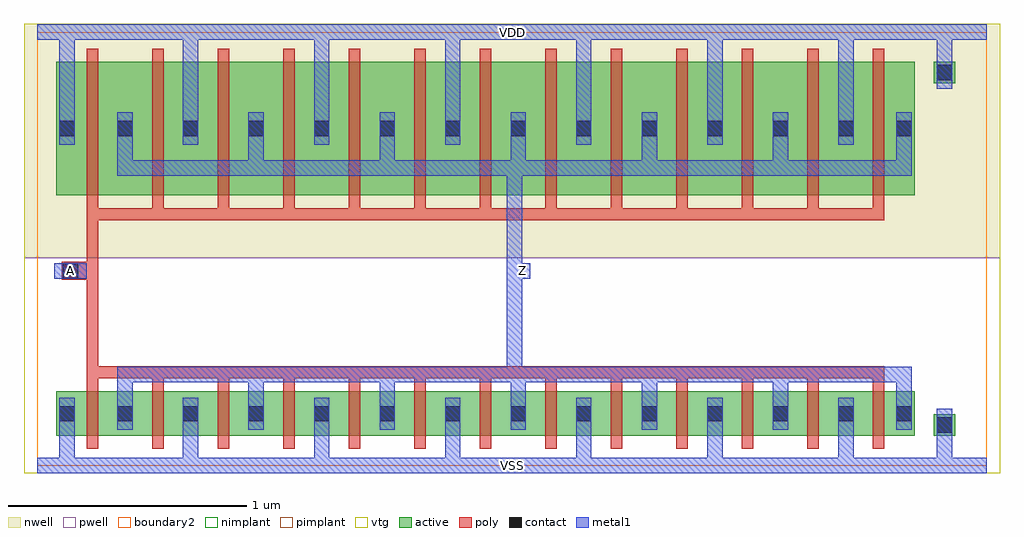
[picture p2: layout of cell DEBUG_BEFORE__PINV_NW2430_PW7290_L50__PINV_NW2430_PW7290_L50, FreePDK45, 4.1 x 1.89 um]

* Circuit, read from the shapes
.subckt DEBUG_BEFORE__PINV_NW2430_PW7290_L50__PINV_NW2430_PW7290_L50 A VDD VSS Z
M1 Z A VSS VSS nfet w=0.1875u l=0.05u m=13
M2 Z A VDD VDD pfet w=0.56u l=0.05u m=13
.ends

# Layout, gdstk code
import gdstk
lib = gdstk.Library(unit=1e-6, precision=5e-10)
def R(c, l, rs):  # rectangles x0, y0, x1, y1
    for r in rs: c.add(gdstk.rectangle(r[:2], r[2:], *l))
def A(c, l, x, y, w, h, nx, ny, dx, dy):  # array of equal rectangles
    R(c, l, [(x+i*dx, y+j*dy, x+i*dx+w, y+j*dy+h) for i in range(nx) for j in range(ny)])
active = (1, 0)
pwell = (2, 0)
nwell = (3, 0)
nimplant = (4, 0)
pimplant = (5, 0)
vtg = (6, 0)
poly = (9, 0)
contact = (10, 0)
metal1 = (11, 0)
boundary2 = (239, 0)

debug_before__pinv_nw243 = lib.new_cell('DEBUG_BEFORE__PINV_NW2430_PW7290_L50__TRANSMISSION_GATE_NW250_PW500_L50_contact_8')
R(debug_before__pinv_nw243, active, [(0,0.0225,0.09,0.1125)])
R(debug_before__pinv_nw243, nwell, [(-0.055,-0.0325,0.145,0.1675)])
R(debug_before__pinv_nw243, pimplant, [(0,0.0225,0.09,0.1125)])
R(debug_before__pinv_nw243, contact, [(0.0125,0.035,0.0775,0.1)])
R(debug_before__pinv_nw243, metal1, [(0.0125,0,0.0775,0.135)])
R(debug_before__pinv_nw243, boundary2, [(-0.055,-0.0325,0.145,0.1675)])

c_debug_before__pinv_nw243 = lib.new_cell('DEBUG_BEFORE__PINV_NW2430_PW7290_L50__PINV_NW2430_PW7290_L50_pmos_m13_w0_560_sm1_dm1_da_p')
R(c_debug_before__pinv_nw243, active, [(0,0,3.605,0.56)])
R(c_debug_before__pinv_nw243, nwell, [(-0.08,-0.08,3.685,0.64)])
R(c_debug_before__pinv_nw243, pimplant, [(0,0,3.605,0.56)])
R(c_debug_before__pinv_nw243, vtg, [(-0.08,-0.08,3.685,0.64)])
A(c_debug_before__pinv_nw243, poly, 0.1275, -0.055, 0.05, 0.67, 13, 1, 0.275, 0)
R(c_debug_before__pinv_nw243, poly, [(0.1275,-0.105,3.4775,-0.055)])
A(c_debug_before__pinv_nw243, metal1, 0.2575, 0.115, 0.065, 0.165, 6, 1, 0.55, 0)
A(c_debug_before__pinv_nw243, metal1, 0.5325, 0.2125, 0.065, 0.135, 6, 1, 0.55, 0)
R(c_debug_before__pinv_nw243, metal1, [(0.2575,0.0825,3.5925,0.1475), (3.5275,0.115,3.5925,0.28), (0.0125,0.2125,0.0775,0.3475)])
R(c_debug_before__pinv_nw243, boundary2, [(-0.08,-0.105,3.685,0.64)])
c_debug_before__pinv_nw243.add(gdstk.Reference(debug_before__pinv_nw243, (0,0.2125)))
c_debug_before__pinv_nw243.add(gdstk.Reference(debug_before__pinv_nw243, (0.245,0.2125)))
c_debug_before__pinv_nw243.add(gdstk.Reference(debug_before__pinv_nw243, (0.52,0.2125)))
c_debug_before__pinv_nw243.add(gdstk.Reference(debug_before__pinv_nw243, (0.795,0.2125)))
c_debug_before__pinv_nw243.add(gdstk.Reference(debug_before__pinv_nw243, (1.07,0.2125)))
c_debug_before__pinv_nw243.add(gdstk.Reference(debug_before__pinv_nw243, (1.345,0.2125)))
c_debug_before__pinv_nw243.add(gdstk.Reference(debug_before__pinv_nw243, (1.62,0.2125)))
c_debug_before__pinv_nw243.add(gdstk.Reference(debug_before__pinv_nw243, (1.895,0.2125)))
c_debug_before__pinv_nw243.add(gdstk.Reference(debug_before__pinv_nw243, (2.17,0.2125)))
c_debug_before__pinv_nw243.add(gdstk.Reference(debug_before__pinv_nw243, (2.445,0.2125)))
c_debug_before__pinv_nw243.add(gdstk.Reference(debug_before__pinv_nw243, (2.72,0.2125)))
c_debug_before__pinv_nw243.add(gdstk.Reference(debug_before__pinv_nw243, (2.995,0.2125)))
c_debug_before__pinv_nw243.add(gdstk.Reference(debug_before__pinv_nw243, (3.27,0.2125)))
c_debug_before__pinv_nw243.add(gdstk.Reference(debug_before__pinv_nw243, (3.515,0.2125)))
c_debug_before__pinv_nw243.add(gdstk.Label('G', (1.8025,-0.08), layer=9, texttype=0))
c_debug_before__pinv_nw243.add(gdstk.Label('S', (2.765,0.28), layer=11, texttype=0))
c_debug_before__pinv_nw243.add(gdstk.Label('S', (1.665,0.28), layer=11, texttype=0))
c_debug_before__pinv_nw243.add(gdstk.Label('S', (2.215,0.28), layer=11, texttype=0))
c_debug_before__pinv_nw243.add(gdstk.Label('S', (3.315,0.28), layer=11, texttype=0))
c_debug_before__pinv_nw243.add(gdstk.Label('S', (0.565,0.28), layer=11, texttype=0))
c_debug_before__pinv_nw243.add(gdstk.Label('S', (0.045,0.28), layer=11, texttype=0))
c_debug_before__pinv_nw243.add(gdstk.Label('S', (1.115,0.28), layer=11, texttype=0))
c_debug_before__pinv_nw243.add(gdstk.Label('D', (1.925,0.115), layer=11, texttype=0))

c_debug_before__pinv_nw243_ = lib.new_cell('DEBUG_BEFORE__PINV_NW2430_PW7290_L50__TRANSMISSION_GATE_NW250_PW500_L50_contact_7')
R(c_debug_before__pinv_nw243_, active, [(0,0.0225,0.09,0.1125)])
R(c_debug_before__pinv_nw243_, pwell, [(-0.055,-0.0325,0.145,0.1675)])
R(c_debug_before__pinv_nw243_, nimplant, [(0,0.0225,0.09,0.1125)])
R(c_debug_before__pinv_nw243_, contact, [(0.0125,0.035,0.0775,0.1)])
R(c_debug_before__pinv_nw243_, metal1, [(0.0125,0,0.0775,0.135)])
R(c_debug_before__pinv_nw243_, boundary2, [(-0.055,-0.0325,0.145,0.1675)])

c_debug_before__pinv_nw243__ = lib.new_cell('DEBUG_BEFORE__PINV_NW2430_PW7290_L50__PINV_NW2430_PW7290_L50_nmos_m13_w0_188_sm1_dm1_da_p')
R(c_debug_before__pinv_nw243__, active, [(0,0,3.605,0.1875)])
R(c_debug_before__pinv_nw243__, pwell, [(-0.08,-0.08,3.685,0.2675)])
R(c_debug_before__pinv_nw243__, nimplant, [(0,0,3.605,0.1875)])
R(c_debug_before__pinv_nw243__, vtg, [(-0.08,-0.08,3.685,0.2675)])
A(c_debug_before__pinv_nw243__, poly, 0.1275, -0.055, 0.05, 0.2975, 13, 1, 0.275, 0)
R(c_debug_before__pinv_nw243__, poly, [(0.1275,0.2425,3.4775,0.2925)])
A(c_debug_before__pinv_nw243__, metal1, 0.5325, 0.025, 0.065, 0.135, 6, 1, 0.55, 0)
A(c_debug_before__pinv_nw243__, metal1, 0.2575, 0.095, 0.065, 0.165, 6, 1, 0.55, 0)
R(c_debug_before__pinv_nw243__, metal1, [(0.0125,0.025,0.0775,0.16), (3.5275,0.095,3.5925,0.26), (0.2575,0.225,3.5925,0.29)])
R(c_debug_before__pinv_nw243__, boundary2, [(-0.08,-0.08,3.685,0.2925)])
c_debug_before__pinv_nw243__.add(gdstk.Reference(c_debug_before__pinv_nw243_, (0,0.025)))
c_debug_before__pinv_nw243__.add(gdstk.Reference(c_debug_before__pinv_nw243_, (0.245,0.025)))
c_debug_before__pinv_nw243__.add(gdstk.Reference(c_debug_before__pinv_nw243_, (0.52,0.025)))
c_debug_before__pinv_nw243__.add(gdstk.Reference(c_debug_before__pinv_nw243_, (0.795,0.025)))
c_debug_before__pinv_nw243__.add(gdstk.Reference(c_debug_before__pinv_nw243_, (1.07,0.025)))
c_debug_before__pinv_nw243__.add(gdstk.Reference(c_debug_before__pinv_nw243_, (1.345,0.025)))
c_debug_before__pinv_nw243__.add(gdstk.Reference(c_debug_before__pinv_nw243_, (1.62,0.025)))
c_debug_before__pinv_nw243__.add(gdstk.Reference(c_debug_before__pinv_nw243_, (1.895,0.025)))
c_debug_before__pinv_nw243__.add(gdstk.Reference(c_debug_before__pinv_nw243_, (2.17,0.025)))
c_debug_before__pinv_nw243__.add(gdstk.Reference(c_debug_before__pinv_nw243_, (2.445,0.025)))
c_debug_before__pinv_nw243__.add(gdstk.Reference(c_debug_before__pinv_nw243_, (2.72,0.025)))
c_debug_before__pinv_nw243__.add(gdstk.Reference(c_debug_before__pinv_nw243_, (2.995,0.025)))
c_debug_before__pinv_nw243__.add(gdstk.Reference(c_debug_before__pinv_nw243_, (3.27,0.025)))
c_debug_before__pinv_nw243__.add(gdstk.Reference(c_debug_before__pinv_nw243_, (3.515,0.025)))
c_debug_before__pinv_nw243__.add(gdstk.Label('G', (1.8025,0.2675), layer=9, texttype=0))
c_debug_before__pinv_nw243__.add(gdstk.Label('S', (2.765,0.0925), layer=11, texttype=0))
c_debug_before__pinv_nw243__.add(gdstk.Label('S', (3.315,0.0925), layer=11, texttype=0))
c_debug_before__pinv_nw243__.add(gdstk.Label('S', (1.665,0.0925), layer=11, texttype=0))
c_debug_before__pinv_nw243__.add(gdstk.Label('S', (0.045,0.0925), layer=11, texttype=0))
c_debug_before__pinv_nw243__.add(gdstk.Label('S', (0.565,0.0925), layer=11, texttype=0))
c_debug_before__pinv_nw243__.add(gdstk.Label('S', (1.115,0.0925), layer=11, texttype=0))
c_debug_before__pinv_nw243__.add(gdstk.Label('S', (2.215,0.0925), layer=11, texttype=0))
c_debug_before__pinv_nw243__.add(gdstk.Label('D', (1.925,0.2575), layer=11, texttype=0))

c_debug_before__pinv_nw243___ = lib.new_cell('DEBUG_BEFORE__PINV_NW2430_PW7290_L50__TRANSMISSION_GATE_NW250_PW500_L50_contact_9')
R(c_debug_before__pinv_nw243___, active, [(0,0.0225,0.09,0.1125)])
R(c_debug_before__pinv_nw243___, nwell, [(-0.055,-0.0325,0.145,0.1675)])
R(c_debug_before__pinv_nw243___, nimplant, [(0,0.0225,0.09,0.1125)])
R(c_debug_before__pinv_nw243___, contact, [(0.0125,0.035,0.0775,0.1)])
R(c_debug_before__pinv_nw243___, metal1, [(0.0125,0,0.0775,0.135)])
R(c_debug_before__pinv_nw243___, boundary2, [(-0.055,-0.0325,0.145,0.1675)])

c_debug_before__pinv_nw243____ = lib.new_cell('DEBUG_BEFORE__PINV_NW2430_PW7290_L50__TRANSMISSION_GATE_NW250_PW500_L50_contact_10')
R(c_debug_before__pinv_nw243____, active, [(0,0.0225,0.09,0.1125)])
R(c_debug_before__pinv_nw243____, pwell, [(-0.055,-0.0325,0.145,0.1675)])
R(c_debug_before__pinv_nw243____, pimplant, [(0,0.0225,0.09,0.1125)])
R(c_debug_before__pinv_nw243____, contact, [(0.0125,0.035,0.0775,0.1)])
R(c_debug_before__pinv_nw243____, metal1, [(0.0125,0,0.0775,0.135)])
R(c_debug_before__pinv_nw243____, boundary2, [(-0.055,-0.0325,0.145,0.1675)])

c_debug_before__pinv_nw243_____ = lib.new_cell('DEBUG_BEFORE__PINV_NW2430_PW7290_L50__PINV_NW180_PW270_L50_contact_11')
R(c_debug_before__pinv_nw243_____, poly, [(0.03,0,0.105,0.075)])
R(c_debug_before__pinv_nw243_____, contact, [(0.035,0.005,0.1,0.07)])
R(c_debug_before__pinv_nw243_____, metal1, [(0,0.005,0.135,0.07)])
R(c_debug_before__pinv_nw243_____, boundary2, [(0,0,0.135,0.075)])

c_debug_before__pinv_nw243______ = lib.new_cell('DEBUG_BEFORE__PINV_NW2430_PW7290_L50__PINV_NW2430_PW7290_L50_core')
R(c_debug_before__pinv_nw243______, pwell, [(-0.055,-0.0325,4.0425,0.8725)])
R(c_debug_before__pinv_nw243______, nwell, [(-0.055,0.8725,4.0425,1.855)])
R(c_debug_before__pinv_nw243______, vtg, [(-0.055,-0.0325,4.0425,0.8725), (-0.055,0.8725,4.0425,1.855)])
R(c_debug_before__pinv_nw243______, poly, [(0.2075,0.4175,0.2575,1.03), (0.14,0.78,0.2075,0.855)])
A(c_debug_before__pinv_nw243______, metal1, 0.6125, -0.0325, 0.065, 0.1825, 6, 1, 0.55, 0)
A(c_debug_before__pinv_nw243______, metal1, 0.6125, 1.3475, 0.065, 0.505, 6, 1, 0.55, 0)
R(c_debug_before__pinv_nw243______, metal1, [(0,-0.0325,3.9875,0.0325), (0.0925,-0.0325,0.1575,0.15), (3.7775,0,3.8425,0.17), (1.9725,0.35,2.0375,1.2825), (0.0725,0.785,0.2075,0.85), (2.005,0.785,2.07,0.85), (0.0925,1.3475,0.1575,1.8525), (3.7775,1.65,3.8425,1.82), (0,1.7875,3.9875,1.8525)])
R(c_debug_before__pinv_nw243______, boundary2, [(0,0,3.9875,1.82), (0,0,3.9875,1.82)])
c_debug_before__pinv_nw243______.add(gdstk.Reference(c_debug_before__pinv_nw243, (0.08,1.135)))
c_debug_before__pinv_nw243______.add(gdstk.Reference(c_debug_before__pinv_nw243__, (0.08,0.125)))
c_debug_before__pinv_nw243______.add(gdstk.Reference(c_debug_before__pinv_nw243___, (3.765,1.5825)))
c_debug_before__pinv_nw243______.add(gdstk.Reference(c_debug_before__pinv_nw243____, (3.765,0.1025)))
c_debug_before__pinv_nw243______.add(gdstk.Reference(c_debug_before__pinv_nw243_____, (0.0725,0.78)))
c_debug_before__pinv_nw243______.add(gdstk.Label('A', (0.14,0.8175), layer=11, texttype=0))
c_debug_before__pinv_nw243______.add(gdstk.Label('Z', (2.0375,0.8175), layer=11, texttype=0))
c_debug_before__pinv_nw243______.add(gdstk.Label('gnd', (1.994,0), layer=11, texttype=0))
c_debug_before__pinv_nw243______.add(gdstk.Label('vdd', (1.994,1.82), layer=11, texttype=0))

c_debug_before__pinv_nw243_______ = lib.new_cell('DEBUG_BEFORE__PINV_NW2430_PW7290_L50__PINV_NW2430_PW7290_L50')
R(c_debug_before__pinv_nw243_______, metal1, [(0,-0.0325,3.9875,0.0325), (0.0725,0.785,0.2075,0.85), (2.005,0.785,2.07,0.85), (0,1.7875,3.9875,1.8525)])
R(c_debug_before__pinv_nw243_______, boundary2, [(0,0,3.9875,1.82)])
c_debug_before__pinv_nw243_______.add(gdstk.Reference(c_debug_before__pinv_nw243______, (0,0)))
c_debug_before__pinv_nw243_______.add(gdstk.Label('A', (0.14,0.8175), layer=11, texttype=0))
c_debug_before__pinv_nw243_______.add(gdstk.Label('Z', (2.0375,0.8175), layer=11, texttype=0))
c_debug_before__pinv_nw243_______.add(gdstk.Label('VDD', (1.994,1.82), layer=11, texttype=0))
c_debug_before__pinv_nw243_______.add(gdstk.Label('VSS', (1.994,0), layer=11, texttype=0))

lib.write_gds('DEBUG_BEFORE__PINV_NW2430_PW7290_L50__PINV_NW2430_PW7290_L50.gds')
